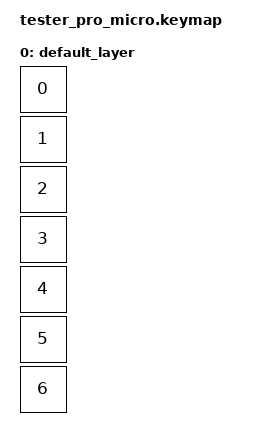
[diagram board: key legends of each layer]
/ {
    keymap {
        compatible = "zmk,keymap";

        default_layer {
            bindings = <
                &kp N0    // K1 - P0.22
                &kp N1    // K2 - P0.24
                &kp N2    // K3 - P1.00
                &kp N3    // K4 - P0.11
                &kp N4    // K5 - P1.04
                &kp N5    // K6 - P1.06
                &kp N6    // K7 - P0.09
            >;
        };
    };
};
